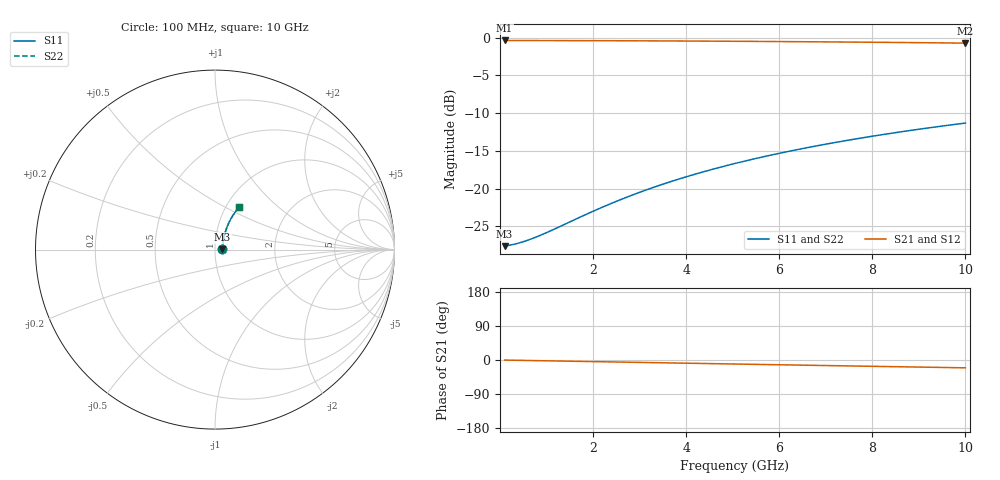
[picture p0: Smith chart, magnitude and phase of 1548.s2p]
# Hz S RI R 50.00
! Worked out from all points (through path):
!   100 points, 100 MHz to 10 GHz, reference 50 ohm
!   highest |S21| = -0.37 dB at 100 MHz (marker M1); lowest = -0.7 dB at 10 GHz (marker M2)
!   group delay of S21, straight-line fit = 5.75 ps
!   lowest |S11| = -27.6 dB at 100 MHz (marker M3), VSWR 1.09, Z = 54.3 + j0.289 ohm
!   |S11| at or under -10 dB: start of sweep to end of sweep
!   |S22| runs from -27.6 to -11.3 dB; largest |S21 - S12| = 0
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1e8  0.0414 0.00266  0.9586 -0.00354  0.9586 -0.00354  0.0414 0.00266
3e8  0.042 0.00797  0.958 -0.0106  0.958 -0.0106  0.042 0.00797
4e8  0.0422 0.0106  0.9578 -0.0141  0.9578 -0.0141  0.0422 0.0106
5e8  0.0424 0.0133  0.9576 -0.0177  0.9576 -0.0177  0.0424 0.0133
7e8  0.0429 0.0186  0.9571 -0.0247  0.9571 -0.0247  0.0429 0.0186
9e8  0.0433 0.0239  0.9566 -0.0318  0.9566 -0.0318  0.0433 0.0239
1.1e9  0.0439 0.0291  0.9561 -0.0388  0.9561 -0.0388  0.0439 0.0291
1.8e9  0.0463 0.0475  0.9536 -0.0634  0.9536 -0.0634  0.0463 0.0475
2.2e9  0.048 0.0579  0.9518 -0.0773  0.9518 -0.0773  0.048 0.0579
2.6e9  0.05 0.0683  0.9497 -0.0912  0.9497 -0.0912  0.05 0.0683
3e9  0.0523 0.0786  0.9473 -0.105  0.9473 -0.105  0.0523 0.0786
3.4e9  0.0549 0.0888  0.9446 -0.1188  0.9446 -0.1188  0.0549 0.0888
3.8e9  0.0578 0.0988  0.9416 -0.1324  0.9416 -0.1324  0.0578 0.0988
4.2e9  0.061 0.1088  0.9383 -0.1459  0.9383 -0.1459  0.061 0.1088
4.6e9  0.0644 0.1187  0.9347 -0.1593  0.9347 -0.1593  0.0644 0.1187
5.1e9  0.069 0.1308  0.9299 -0.1759  0.9299 -0.1759  0.069 0.1308
5.9e9  0.0774 0.1498  0.9212 -0.202  0.9212 -0.202  0.0774 0.1498
6.7e9  0.0867 0.1682  0.9115 -0.2274  0.9115 -0.2274  0.0867 0.1682
7.5e9  0.097 0.1858  0.9007 -0.2522  0.9007 -0.2522  0.097 0.1858
8.4e9  0.1096 0.2048  0.8875 -0.2792  0.8875 -0.2792  0.1096 0.2048
9.2e9  0.1218 0.2208  0.8748 -0.3024  0.8748 -0.3024  0.1218 0.2208
1e10  0.1346 0.236  0.8613 -0.3247  0.8613 -0.3247  0.1346 0.236
